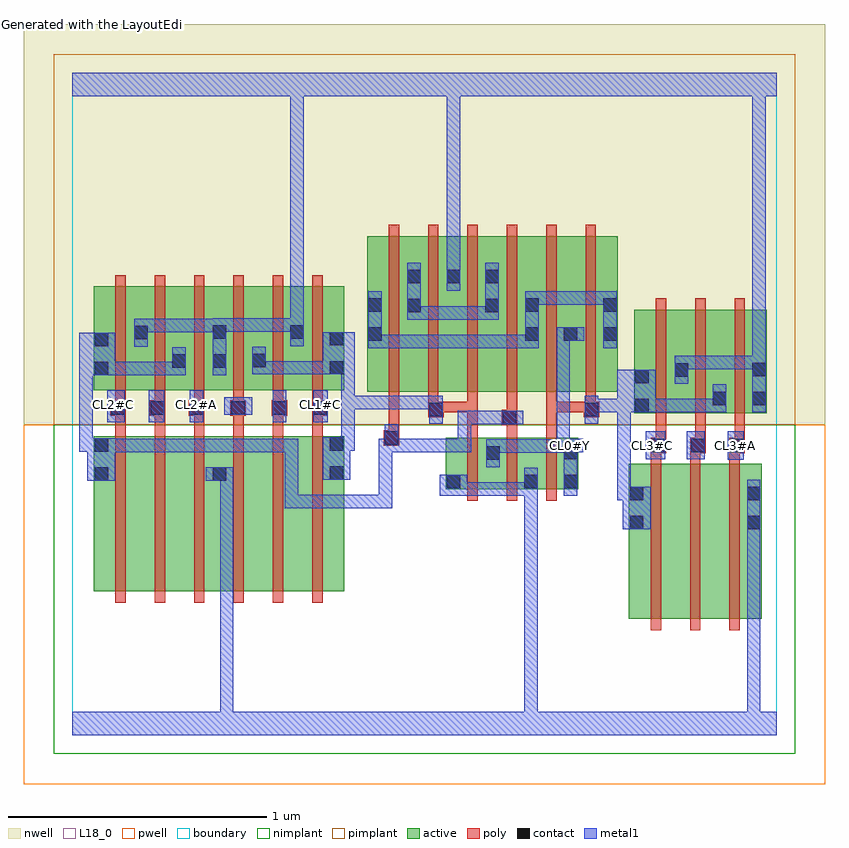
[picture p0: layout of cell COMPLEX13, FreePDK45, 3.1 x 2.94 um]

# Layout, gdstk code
import gdstk
lib = gdstk.Library(unit=1e-6, precision=1e-09)
def R(c, l, rs):  # rectangles x0, y0, x1, y1
    for r in rs: c.add(gdstk.rectangle(r[:2], r[2:], *l))
def A(c, l, x, y, w, h, nx, ny, dx, dy):  # array of equal rectangles
    R(c, l, [(x+i*dx, y+j*dy, x+i*dx+w, y+j*dy+h) for i in range(nx) for j in range(ny)])
active = (1, 0)
pwell = (2, 0)
nwell = (3, 0)
nimplant = (4, 0)
pimplant = (5, 0)
poly = (9, 0)
contact = (10, 0)
metal1 = (11, 0)
L18_0 = (18, 0)
boundary = (235, 0)

complex13 = lib.new_cell('COMPLEX13')
R(complex13, active, [(2.15,0.45,2.21,1.05), (2.15,0.45,2.33,1.05), (2.33,0.45,2.482,1.05), (2.482,0.45,2.662,1.05), (2.602,0.45,2.662,1.05), (0.082,0.556,0.142,1.156), (0.082,0.556,0.262,1.156), (0.262,0.556,0.414,1.156), (0.414,0.556,0.598,1.156), (0.538,0.556,0.598,1.156), (0.538,0.556,0.718,1.156), (0.718,0.556,0.87,1.156), (0.87,0.556,1.05,1.156), (0.99,0.556,1.05,1.156), (1.442,0.95,1.502,1.15), (1.442,0.95,1.654,1.15), (1.594,0.95,1.654,1.15), (1.594,0.95,1.802,1.15), (1.742,0.95,1.802,1.15), (1.742,0.95,1.954,1.15), (1.894,0.95,1.954,1.15), (2.17,1.244,2.23,1.644), (2.17,1.244,2.382,1.644), (2.322,1.244,2.53,1.644), (2.47,1.244,2.682,1.644), (2.622,1.244,2.682,1.644), (2.47,1.272,2.53,1.644), (2.322,1.286,2.382,1.644), (1.138,1.328,1.198,1.844), (1.138,1.328,1.35,1.928), (1.29,1.328,1.502,1.928), (1.442,1.328,1.65,1.928), (1.59,1.328,1.65,1.928), (1.59,1.328,1.806,1.928), (1.746,1.328,1.954,1.928), (1.894,1.328,2.106,1.928), (2.046,1.328,2.106,1.928), (0.082,1.334,0.142,1.734), (0.082,1.334,0.294,1.734), (0.234,1.334,0.442,1.734), (0.382,1.334,0.598,1.734), (0.538,1.334,0.75,1.734), (0.69,1.334,0.898,1.734), (0.838,1.334,1.05,1.734), (0.99,1.334,1.05,1.644), (1.442,1.398,1.502,1.928), (0.382,1.416,0.442,1.644), (0.538,1.416,0.598,1.644), (0.69,1.418,0.75,1.644), (1.746,1.52,1.806,1.844), (1.894,1.52,1.954,1.844), (0.234,1.526,0.294,1.644), (0.838,1.528,0.898,1.644), (1.29,1.63,1.35,1.844)])
R(complex13, pwell, [(-0.188,-0.188,2.908,1.2)])
R(complex13, nwell, [(-0.188,1.2,2.908,2.748)])
R(complex13, nimplant, [(-0.072,-0.072,2.792,1.2)])
R(complex13, pimplant, [(-0.072,1.2,2.792,2.632)])
A(complex13, poly, 2.234, 0.406, 0.04, 0.688, 3, 1, 0.152, 0)
A(complex13, poly, 0.166, 0.512, 0.04, 0.688, 6, 1, 0.152, 0)
A(complex13, poly, 1.526, 0.906, 0.04, 0.288, 3, 1, 0.152, 0)
A(complex13, poly, 2.234, 1.054, 0.04, 0.076, 3, 1, 0.152, 0)
A(complex13, poly, 2.234, 1.09, 0.06, 0.06, 3, 1, 0.152, 0)
A(complex13, poly, 2.254, 1.11, 0.04, 0.13, 3, 1, 0.152, 0)
A(complex13, poly, 0.166, 1.16, 0.04, 0.114, 6, 1, 0.152, 0)
A(complex13, poly, 2.254, 1.2, 0.04, 0.488, 3, 1, 0.152, 0)
A(complex13, poly, 0.146, 1.234, 0.06, 0.06, 3, 1, 0.152, 0)
A(complex13, poly, 0.166, 1.254, 0.04, 0.076, 6, 1, 0.152, 0)
A(complex13, poly, 1.222, 1.284, 0.04, 0.688, 6, 1, 0.152, 0)
A(complex13, poly, 0.166, 1.29, 0.04, 0.488, 6, 1, 0.152, 0)
R(complex13, poly, [(2.234,1.09,2.274,1.13), (2.234,1.09,2.274,1.13), (2.538,1.09,2.578,1.13), (2.538,1.09,2.578,1.13), (2.406,1.11,2.446,1.15), (2.406,1.11,2.446,1.15), (1.202,1.118,1.262,1.178), (1.222,1.138,1.262,1.178), (1.222,1.138,1.262,1.178), (1.222,1.138,1.262,1.324), (1.526,1.154,1.566,1.288), (1.678,1.154,1.718,1.238), (1.83,1.154,1.87,1.288), (1.658,1.198,1.718,1.258), (1.678,1.218,1.718,1.258), (1.678,1.218,1.718,1.258), (1.678,1.218,1.718,1.324), (1.374,1.228,1.434,1.288), (1.976,1.228,2.036,1.288), (0.166,1.234,0.206,1.274), (0.166,1.234,0.206,1.274), (0.318,1.234,0.358,1.274), (0.318,1.234,0.358,1.274), (0.47,1.234,0.51,1.274), (0.47,1.234,0.51,1.274), (0.61,1.234,0.67,1.294), (0.622,1.234,0.662,1.274), (0.622,1.234,0.662,1.274), (0.77,1.234,0.83,1.294), (0.926,1.234,0.966,1.274), (0.926,1.234,0.966,1.274), (0.926,1.234,0.986,1.294), (1.374,1.248,1.414,1.324), (1.394,1.248,1.566,1.288), (1.526,1.248,1.566,1.288), (1.526,1.248,1.566,1.288), (1.526,1.248,1.566,1.288), (1.526,1.248,1.566,1.288), (1.526,1.248,1.566,1.288), (1.526,1.248,1.566,1.324), (1.83,1.248,1.87,1.288), (1.83,1.248,1.87,1.288), (1.83,1.248,1.87,1.288), (1.83,1.248,1.87,1.324), (1.83,1.248,2.016,1.288), (1.976,1.248,2.016,1.288), (1.976,1.248,2.016,1.288), (1.982,1.248,2.022,1.324), (0.774,1.254,0.814,1.294), (0.774,1.254,0.814,1.294)])
A(complex13, contact, 2.238, 1.094, 0.052, 0.052, 3, 1, 0.152, 0)
A(complex13, contact, 0.15, 1.238, 0.052, 0.052, 3, 1, 0.152, 0)
R(complex13, contact, [(2.154,0.796,2.206,0.848), (2.606,0.796,2.658,0.848), (2.154,0.908,2.206,0.96), (2.606,0.908,2.658,0.96), (1.446,0.954,1.498,1.006), (1.746,0.954,1.798,1.006), (1.898,0.954,1.95,1.006), (0.086,0.984,0.138,1.036), (0.542,0.984,0.594,1.036), (0.994,0.988,1.046,1.04), (1.598,1.064,1.65,1.116), (1.898,1.066,1.95,1.118), (0.086,1.096,0.138,1.148), (0.994,1.1,1.046,1.152), (1.206,1.122,1.258,1.174), (1.662,1.202,1.714,1.254), (1.378,1.232,1.43,1.284), (1.98,1.232,2.032,1.284), (0.614,1.238,0.666,1.29), (0.774,1.238,0.826,1.29), (0.93,1.238,0.982,1.29), (2.174,1.248,2.226,1.3), (2.474,1.276,2.526,1.328), (2.626,1.276,2.678,1.328), (2.174,1.36,2.226,1.412), (2.326,1.386,2.378,1.438), (2.626,1.388,2.678,1.44), (0.086,1.392,0.138,1.444), (0.994,1.394,1.046,1.446), (0.386,1.42,0.438,1.472), (0.542,1.42,0.594,1.472), (0.694,1.422,0.746,1.474), (0.086,1.504,0.138,1.556), (0.994,1.506,1.046,1.558), (1.142,1.524,1.194,1.576), (1.75,1.524,1.802,1.576), (1.898,1.524,1.95,1.576), (2.05,1.524,2.102,1.576), (0.238,1.53,0.29,1.582), (0.542,1.532,0.594,1.584), (0.842,1.532,0.894,1.584), (1.294,1.634,1.346,1.686), (1.594,1.634,1.646,1.686), (1.142,1.636,1.194,1.688), (1.75,1.636,1.802,1.688), (2.05,1.636,2.102,1.688), (1.294,1.746,1.346,1.798), (1.446,1.746,1.498,1.798), (1.594,1.746,1.646,1.798)])
R(complex13, metal1, [(0,0,2.72,0.092), (0.57,0.04,0.622,0.092), (0.57,0.04,0.622,0.092), (0.57,0.04,0.622,1.036), (1.746,0.04,1.798,0.092), (1.746,0.04,1.798,0.092), (1.746,0.04,1.798,0.092), (1.746,0.04,1.798,0.092), (1.746,0.04,1.798,0.092), (1.746,0.04,1.798,0.092), (1.746,0.04,1.798,0.092), (1.746,0.04,1.798,0.092), (1.746,0.04,1.798,0.092), (1.746,0.04,1.798,0.092), (1.746,0.04,1.798,0.092), (1.746,0.04,1.798,0.092), (1.746,0.04,1.798,0.092), (1.746,0.04,1.798,0.092), (1.746,0.04,1.798,0.092), (1.746,0.04,1.798,0.092), (1.746,0.04,1.798,0.978), (2.606,0.04,2.658,0.092), (2.606,0.04,2.658,0.092), (2.606,0.04,2.658,0.82), (2.606,0.768,2.658,0.82), (2.606,0.768,2.658,0.82), (2.606,0.768,2.658,0.82), (2.606,0.768,2.658,0.82), (2.606,0.768,2.658,0.82), (2.606,0.768,2.658,0.82), (2.606,0.768,2.658,0.988), (2.126,0.796,2.234,0.96), (0.82,0.878,0.872,0.93), (0.82,0.878,0.982,0.93), (0.82,0.878,0.872,1.146), (0.93,0.878,0.982,0.93), (0.93,0.878,0.982,0.93), (0.93,0.878,0.982,0.93), (0.93,0.878,1.236,0.93), (1.184,0.878,1.236,0.93), (1.184,0.878,1.236,1.146), (2.104,0.908,2.178,0.96), (2.104,0.908,2.156,1.3), (2.126,0.908,2.178,0.96), (1.418,0.926,1.526,1.006), (1.474,0.926,1.526,0.978), (1.474,0.926,1.526,0.978), (1.474,0.926,1.688,0.978), (1.636,0.926,1.688,0.978), (1.636,0.926,1.688,0.978), (1.636,0.926,1.688,0.978), (1.636,0.926,1.798,0.978), (1.746,0.926,1.798,1.034), (1.898,0.926,1.95,1.146), (0.058,0.984,0.166,1.148), (0.514,0.984,0.622,1.036), (0.57,0.984,0.622,1.036), (0.57,0.984,0.622,1.036), (0.57,0.984,0.622,1.036), (0.57,0.984,0.622,1.036), (0.57,0.984,0.622,1.036), (0.57,0.984,0.622,1.036), (0.966,0.988,1.074,1.152), (1.598,1.036,1.65,1.144), (2.532,1.064,2.594,1.174), (2.214,1.066,2.29,1.174), (2.374,1.066,2.442,1.174), (1.598,1.092,1.688,1.144), (1.636,1.092,1.688,1.144), (1.636,1.092,1.802,1.144), (1.75,1.092,1.802,1.144), (1.75,1.092,1.922,1.144), (1.87,1.092,1.922,1.144), (1.87,1.092,1.95,1.144), (0.114,1.094,0.166,1.146), (0.114,1.094,0.166,1.146), (0.114,1.094,0.29,1.146), (0.238,1.094,0.29,1.146), (0.238,1.094,0.29,1.146), (0.238,1.094,0.29,1.146), (0.238,1.094,0.4,1.146), (0.348,1.094,0.4,1.146), (0.348,1.094,0.512,1.146), (0.46,1.094,0.512,1.146), (0.46,1.094,0.512,1.146), (0.46,1.094,0.512,1.146), (0.46,1.094,0.652,1.146), (0.6,1.094,0.652,1.146), (0.6,1.094,0.704,1.146), (0.652,1.094,0.704,1.146), (0.652,1.094,0.872,1.146), (0.82,1.094,0.872,1.146), (0.82,1.094,0.872,1.146), (0.82,1.094,0.872,1.146), (1.184,1.094,1.236,1.146), (1.184,1.094,1.236,1.146), (1.184,1.094,1.236,1.146), (1.184,1.094,1.258,1.146), (1.206,1.094,1.258,1.202), (1.206,1.094,1.36,1.146), (1.308,1.094,1.36,1.146), (1.308,1.094,1.416,1.146), (1.364,1.094,1.416,1.146), (1.364,1.094,1.47,1.146), (1.418,1.094,1.47,1.146), (1.418,1.094,1.54,1.146), (1.488,1.094,1.54,1.254), (1.866,1.094,1.974,1.146), (1.87,1.094,1.922,1.576), (1.898,1.094,1.95,1.146), (0.026,1.096,0.11,1.148), (0.026,1.096,0.078,1.444), (0.058,1.096,0.11,1.148), (1.022,1.1,1.074,1.152), (1.022,1.1,1.09,1.152), (1.038,1.1,1.09,1.312), (1.488,1.202,1.686,1.254), (1.634,1.202,1.686,1.254), (1.634,1.202,1.686,1.254), (1.634,1.202,1.742,1.254), (1.378,1.204,1.43,1.312), (1.98,1.204,2.032,1.312), (0.134,1.21,0.202,1.334), (0.294,1.21,0.354,1.334), (0.454,1.21,0.506,1.334), (0.774,1.21,0.826,1.334), (0.93,1.21,0.986,1.334), (0.586,1.238,0.694,1.306), (1.98,1.248,2.156,1.3), (2.104,1.248,2.156,1.3), (2.104,1.248,2.156,1.3), (2.104,1.248,2.156,1.3), (2.104,1.248,2.156,1.3), (2.104,1.248,2.254,1.412), (2.202,1.248,2.268,1.3), (2.216,1.248,2.268,1.3), (2.216,1.248,2.416,1.3), (2.364,1.248,2.416,1.3), (2.364,1.248,2.416,1.3), (2.364,1.248,2.416,1.3), (2.364,1.248,2.526,1.3), (2.474,1.248,2.526,1.356), (2.626,1.248,2.678,1.468), (1.038,1.26,1.09,1.312), (1.038,1.26,1.236,1.312), (1.038,1.26,1.09,1.446), (1.184,1.26,1.236,1.312), (1.184,1.26,1.236,1.312), (1.184,1.26,1.236,1.312), (1.184,1.26,1.346,1.312), (1.294,1.26,1.346,1.312), (1.294,1.26,1.43,1.312), (2.326,1.358,2.378,1.466), (0.026,1.392,0.078,1.444), (0.026,1.392,0.078,1.444), (0.026,1.392,0.166,1.556), (0.114,1.392,0.166,1.444), (0.114,1.392,0.166,1.444), (0.114,1.392,0.282,1.444), (0.23,1.392,0.282,1.444), (0.23,1.392,0.282,1.444), (0.23,1.392,0.282,1.444), (0.23,1.392,0.438,1.444), (0.386,1.392,0.438,1.5), (0.542,1.392,0.594,1.612), (0.694,1.394,0.746,1.502), (0.694,1.394,0.872,1.446), (0.82,1.394,0.872,1.446), (0.82,1.394,0.872,1.446), (0.82,1.394,0.872,1.446), (0.82,1.394,1.018,1.446), (0.966,1.394,1.018,1.446), (0.966,1.394,1.018,1.446), (0.966,1.394,1.09,1.558), (2.326,1.414,2.378,1.466), (2.326,1.414,2.378,1.466), (2.326,1.414,2.548,1.466), (2.496,1.414,2.548,1.466), (2.496,1.414,2.548,1.466), (2.496,1.414,2.548,1.466), (2.496,1.414,2.678,1.466), (2.626,1.416,2.678,1.468), (2.626,1.416,2.678,1.468), (2.626,1.416,2.678,1.468), (2.626,1.416,2.678,1.468), (2.626,1.416,2.678,1.468), (2.626,1.416,2.678,1.468), (2.626,1.416,2.678,1.468), (2.626,1.416,2.678,1.468), (2.626,1.416,2.678,1.468), (2.626,1.416,2.678,1.468), (2.626,1.416,2.678,1.468), (2.626,1.416,2.678,1.468), (2.626,1.416,2.678,1.468), (2.626,1.416,2.678,1.468), (2.626,1.416,2.678,1.468), (2.626,1.416,2.678,1.468), (2.626,1.416,2.678,2.52), (1.142,1.496,1.194,1.716), (1.142,1.496,1.2,1.548), (1.148,1.496,1.2,1.548), (1.148,1.496,1.346,1.548), (1.294,1.496,1.346,1.548), (1.294,1.496,1.416,1.548), (1.364,1.496,1.416,1.548), (1.364,1.496,1.526,1.548), (1.474,1.496,1.526,1.548), (1.474,1.496,1.526,1.548), (1.474,1.496,1.526,1.548), (1.474,1.496,1.65,1.548), (1.598,1.496,1.65,1.548), (1.598,1.496,1.65,1.548), (1.598,1.496,1.65,1.548), (1.598,1.496,1.802,1.548), (1.75,1.496,1.802,1.716), (2.05,1.496,2.102,1.716), (0.238,1.502,0.29,1.61), (0.842,1.504,0.894,1.612), (1.87,1.524,1.922,1.576), (1.87,1.524,1.922,1.576), (1.87,1.524,1.978,1.576), (0.238,1.558,0.29,1.61), (0.238,1.558,0.29,1.61), (0.238,1.558,0.402,1.61), (0.35,1.558,0.402,1.61), (0.35,1.558,0.402,1.61), (0.35,1.558,0.402,1.61), (0.35,1.558,0.594,1.61), (0.542,1.56,0.622,1.612), (0.57,1.56,0.622,1.612), (0.57,1.56,0.762,1.612), (0.71,1.56,0.762,1.612), (0.71,1.56,0.762,1.612), (0.71,1.56,0.762,1.612), (0.71,1.56,0.894,1.612), (0.842,1.56,0.894,2.52), (1.294,1.606,1.346,1.826), (1.294,1.606,1.416,1.658), (1.364,1.606,1.416,1.658), (1.364,1.606,1.526,1.658), (1.474,1.606,1.526,1.658), (1.474,1.606,1.526,1.658), (1.474,1.606,1.526,1.658), (1.474,1.606,1.646,1.658), (1.594,1.606,1.646,1.826), (1.75,1.664,1.802,1.716), (1.75,1.664,1.802,1.716), (1.75,1.664,1.802,1.716), (1.75,1.664,1.802,1.716), (1.75,1.664,1.912,1.716), (1.86,1.664,1.912,1.716), (1.86,1.664,2.046,1.716), (1.994,1.664,2.046,1.716), (1.994,1.664,2.102,1.716), (1.446,1.718,1.498,1.826), (1.446,1.774,1.498,1.826), (1.446,1.774,1.498,1.826), (1.446,1.774,1.498,1.826), (1.446,1.774,1.498,1.826), (1.446,1.774,1.498,1.826), (1.446,1.774,1.498,1.826), (1.446,1.774,1.498,2.52), (0,2.468,2.72,2.56), (0.842,2.468,0.894,2.52), (0.842,2.468,0.894,2.52), (0.842,2.468,0.894,2.52), (0.842,2.468,0.894,2.52), (0.842,2.468,0.894,2.52), (0.842,2.468,0.894,2.52), (0.842,2.468,0.894,2.52), (0.842,2.468,0.894,2.52), (0.842,2.468,0.894,2.52), (0.842,2.468,0.894,2.52), (0.842,2.468,0.894,2.52), (0.842,2.468,0.894,2.52), (0.842,2.468,0.894,2.52), (0.842,2.468,0.894,2.52), (0.842,2.468,0.894,2.52), (0.842,2.468,0.894,2.52), (1.446,2.468,1.498,2.52), (1.446,2.468,1.498,2.52), (1.446,2.468,1.498,2.52), (1.446,2.468,1.498,2.52), (1.446,2.468,1.498,2.52), (1.446,2.468,1.498,2.52)])
A(complex13, L18_0, 2.214, 1.094, 0.052, 0.052, 3, 1, 0.16, 0)
A(complex13, L18_0, 0.134, 1.254, 0.052, 0.052, 6, 1, 0.16, 0)
R(complex13, L18_0, [(0,0,2.72,0.092), (0.57,0.04,0.622,0.092), (0.57,0.04,0.622,0.092), (0.57,0.04,0.622,1.036), (1.746,0.04,1.798,0.092), (1.746,0.04,1.798,0.092), (1.746,0.04,1.798,0.092), (1.746,0.04,1.798,0.092), (1.746,0.04,1.798,0.092), (1.746,0.04,1.798,0.092), (1.746,0.04,1.798,0.092), (1.746,0.04,1.798,0.092), (1.746,0.04,1.798,0.092), (1.746,0.04,1.798,0.092), (1.746,0.04,1.798,0.092), (1.746,0.04,1.798,0.092), (1.746,0.04,1.798,0.092), (1.746,0.04,1.798,0.092), (1.746,0.04,1.798,0.092), (1.746,0.04,1.798,0.092), (1.746,0.04,1.798,0.978), (2.606,0.04,2.658,0.092), (2.606,0.04,2.658,0.092), (2.606,0.04,2.658,0.82), (2.606,0.768,2.658,0.82), (2.606,0.768,2.658,0.82), (2.606,0.768,2.658,0.82), (2.606,0.768,2.658,0.82), (2.606,0.768,2.658,0.82), (2.606,0.768,2.658,0.82), (2.606,0.768,2.658,0.988), (1.418,0.926,1.526,1.006), (1.474,0.926,1.526,0.978), (1.474,0.926,1.526,0.978), (1.474,0.926,1.688,0.978), (1.636,0.926,1.688,0.978), (1.636,0.926,1.688,0.978), (1.636,0.926,1.688,0.978), (1.636,0.926,1.798,0.978), (1.746,0.926,1.798,1.034), (1.898,0.926,1.95,1.146), (0.514,0.984,0.622,1.036), (0.57,0.984,0.622,1.036), (0.57,0.984,0.622,1.036), (0.57,0.984,0.622,1.036), (0.57,0.984,0.622,1.036), (0.57,0.984,0.622,1.036), (0.57,0.984,0.622,1.036), (1.598,1.036,1.65,1.144), (2.532,1.064,2.594,1.174), (2.214,1.066,2.29,1.174), (2.374,1.066,2.442,1.174), (1.598,1.092,1.688,1.144), (1.636,1.092,1.688,1.144), (1.636,1.092,1.802,1.144), (1.75,1.092,1.802,1.144), (1.75,1.092,1.922,1.144), (1.87,1.092,1.922,1.144), (1.87,1.092,1.95,1.144), (1.866,1.094,1.974,1.146), (1.87,1.094,1.922,1.576), (1.894,1.094,1.946,1.146), (1.898,1.094,1.95,1.146), (0.134,1.21,0.202,1.334), (0.294,1.21,0.354,1.334), (0.454,1.21,0.506,1.334), (0.774,1.21,0.826,1.334), (0.93,1.21,0.986,1.334), (0.586,1.238,0.694,1.306), (2.626,1.248,2.678,1.468), (2.326,1.358,2.378,1.466), (0.542,1.392,0.594,1.612), (2.326,1.414,2.378,1.466), (2.326,1.414,2.378,1.466), (2.326,1.414,2.548,1.466), (2.496,1.414,2.548,1.466), (2.496,1.414,2.548,1.466), (2.496,1.414,2.548,1.466), (2.496,1.414,2.678,1.466), (2.626,1.416,2.678,1.468), (2.626,1.416,2.678,1.468), (2.626,1.416,2.678,1.468), (2.626,1.416,2.678,1.468), (2.626,1.416,2.678,1.468), (2.626,1.416,2.678,1.468), (2.626,1.416,2.678,1.468), (2.626,1.416,2.678,1.468), (2.626,1.416,2.678,1.468), (2.626,1.416,2.678,1.468), (2.626,1.416,2.678,1.468), (2.626,1.416,2.678,1.468), (2.626,1.416,2.678,1.468), (2.626,1.416,2.678,1.468), (2.626,1.416,2.678,1.468), (2.626,1.416,2.678,1.468), (2.626,1.416,2.678,2.52), (0.238,1.502,0.29,1.61), (0.842,1.504,0.894,1.612), (1.87,1.524,1.922,1.576), (1.87,1.524,1.922,1.576), (1.87,1.524,1.978,1.576), (0.238,1.558,0.29,1.61), (0.238,1.558,0.29,1.61), (0.238,1.558,0.402,1.61), (0.35,1.558,0.402,1.61), (0.35,1.558,0.402,1.61), (0.35,1.558,0.402,1.61), (0.35,1.558,0.594,1.61), (0.542,1.56,0.622,1.612), (0.57,1.56,0.622,1.612), (0.57,1.56,0.762,1.612), (0.71,1.56,0.762,1.612), (0.71,1.56,0.762,1.612), (0.71,1.56,0.762,1.612), (0.71,1.56,0.894,1.612), (0.842,1.56,0.894,2.52), (1.446,1.718,1.498,1.826), (1.446,1.774,1.498,1.826), (1.446,1.774,1.498,1.826), (1.446,1.774,1.498,1.826), (1.446,1.774,1.498,1.826), (1.446,1.774,1.498,1.826), (1.446,1.774,1.498,1.826), (1.446,1.774,1.498,2.52), (0,2.468,2.72,2.56), (0.842,2.468,0.894,2.52), (0.842,2.468,0.894,2.52), (0.842,2.468,0.894,2.52), (0.842,2.468,0.894,2.52), (0.842,2.468,0.894,2.52), (0.842,2.468,0.894,2.52), (0.842,2.468,0.894,2.52), (0.842,2.468,0.894,2.52), (0.842,2.468,0.894,2.52), (0.842,2.468,0.894,2.52), (0.842,2.468,0.894,2.52), (0.842,2.468,0.894,2.52), (0.842,2.468,0.894,2.52), (0.842,2.468,0.894,2.52), (0.842,2.468,0.894,2.52), (0.842,2.468,0.894,2.52), (1.446,2.468,1.498,2.52), (1.446,2.468,1.498,2.52), (1.446,2.468,1.498,2.52), (1.446,2.468,1.498,2.52), (1.446,2.468,1.498,2.52), (1.446,2.468,1.498,2.52)])
R(complex13, boundary, [(0,0,2.72,2.56)])
complex13.add(gdstk.Label('Generated with the LayoutEditor (This message will NOT added in any commercial version of the LayoutEditor.)', (-0.188,2.748), layer=18, texttype=13476))
complex13.add(gdstk.Label('CL3#C', (2.24,1.12), layer=11, texttype=0))
complex13.add(gdstk.Label('CL3#B', (2.4,1.12), layer=11, texttype=0))
complex13.add(gdstk.Label('CL3#A', (2.56,1.12), layer=11, texttype=0))
complex13.add(gdstk.Label('CL2#C', (0.16,1.28), layer=11, texttype=0))
complex13.add(gdstk.Label('CL2#B', (0.32,1.28), layer=11, texttype=0))
complex13.add(gdstk.Label('CL2#A', (0.48,1.28), layer=11, texttype=0))
complex13.add(gdstk.Label('CL1#C', (0.96,1.28), layer=11, texttype=0))
complex13.add(gdstk.Label('CL1#B', (0.8,1.28), layer=11, texttype=0))
complex13.add(gdstk.Label('CL1#A', (0.64,1.28), layer=11, texttype=0))
complex13.add(gdstk.Label('CL0#Y', (1.92,1.12), layer=11, texttype=0))

lib.write_gds('COMPLEX13.gds')
